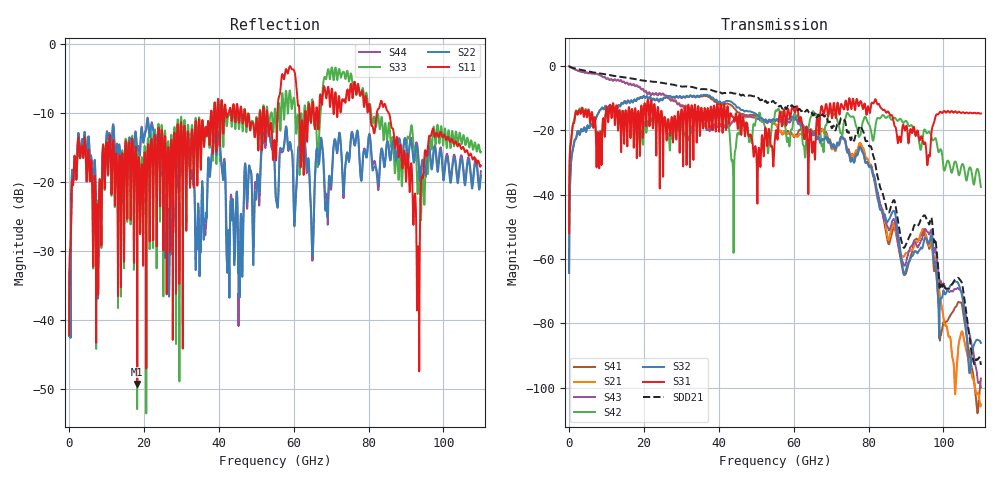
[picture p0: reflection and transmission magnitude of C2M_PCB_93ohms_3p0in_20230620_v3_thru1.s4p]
! Info: Touchstone file created by Circ.  Input file=C2M_PCB_93ohms_3p0in_20230620_v3.circ
# Hz S RI R 50
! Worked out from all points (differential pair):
!   11000 points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, 10 MHz to 110 GHz, reference 50 ohm
!   strongest paths, dB at 10 MHz, 27.51 GHz, 55.01 GHz, 82.51 GHz, 110 GHz:
!     S31: -51.9, -16.5, -22.3, -11.9, -14.8
!     S32: -64.3, -9.8, -16.9, -41.2, -86.0
!     S42: -51.8, -21.4, -14.6, -16.1, -37.6
!     S43: -0.1, -10.7, -17.2, -39.5, -99.9
!     S21: -0.1, -10.4, -17.9, -41.8, -105.1
!     S41: -64.3, -10.0, -18.1, -40.6, -97.1
!   taken as a pair (ports 3,1 in; 4,2 out), SDD21 dB: -0.1, -5.8, -11.6, -34.7, -92.9
!   lowest |S11| = -49.2 dB at 18.2 GHz (marker M1), VSWR 1.01, Z = 49.8 - j0.269 ohm
!   |S11| at or under -10 dB: start of sweep to 37.89 GHz; 47.09 GHz to 50.93 GHz (3.837 GHz wide, 7.83 % of centre); 85.38 GHz to end of sweep (the widest 3 of 23)
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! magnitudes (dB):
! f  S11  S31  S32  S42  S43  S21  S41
! 10 MHz  -42.1  -51.9  -64.3  -51.8  -0.1  -0.1  -64.3
! 2.02 GHz  -19.2  -14.3  -21.7  -13.9  -1.2  -1.2  -21.7
! 18.2 GHz  -49.2  -20.0  -10.2  -23.8  -6.2  -6.2  -10.1
! 77.96 GHz  -7.2  -11.0  -25.6  -20.7  -25.7  -24.3  -24.4
! 89.46 GHz  -15.5  -19.1  -64.9  -17.6  -62.0  -59.2  -64.9
! 93.22 GHz  -29.3  -20.4  -57.9  -21.6  -56.2  -54.5  -54.1
! 110 GHz  -17.6  -14.8  -86.0  -37.6  -99.9  -105.1  -97.1
